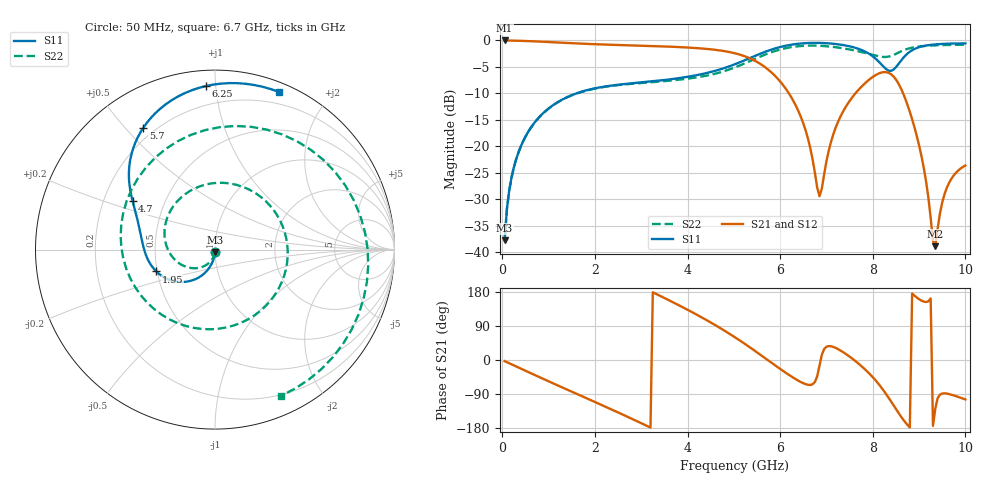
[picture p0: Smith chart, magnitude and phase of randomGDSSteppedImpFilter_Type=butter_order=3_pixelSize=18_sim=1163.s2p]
! freq	dB(S11)	phase(S11)	dB(S12)	phase(S12)
!  dB(S21)	phase(S21)	dB(S22)	phase(S22)
!S-par simulation data
#  GHz  S  DB  R 50
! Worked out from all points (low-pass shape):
!   200 points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, 50 MHz to 10 GHz, reference 50 ohm
!   highest |S21| = -0.01 dB at 50 MHz (marker M1); lowest = -38.9 dB at 9.35 GHz (marker M2)
!   |S21| within 3 dB of the highest: start of sweep to 5.239 GHz
!   lowest |S11| = -37.8 dB at 50 MHz (marker M3), VSWR 1.03, Z = 49.9 - j1.29 ohm
!   |S11| at or under -10 dB: start of sweep to 1.604 GHz
!   |S22| runs from -37.8 to -0.8 dB; largest |S21 - S12| = 0
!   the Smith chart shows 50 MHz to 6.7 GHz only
!   S11 on the Smith chart (normalised r, x): 50 MHz: 1.00, -0.03; 1.95 GHz: 0.49, -0.14; 4.7 GHz: 0.33, +0.24; 5.7 GHz: 0.16, +0.56; 6.25 GHz: 0.09, +0.94; 6.7 GHz: 0.09, +1.48
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0.05  -37.78 -92.0  -0.01 -2.9  -0.01 -2.9  -37.79 -93.7
0.2  -25.86 -98.3  -0.03 -11.4  -0.03 -11.4  -25.88 -105.0
0.5  -18.17 -110.4  -0.10 -28.4  -0.10 -28.4  -18.20 -127.4
1.75  -9.59 -153.9  -0.62 -97.2  -0.62 -97.2  -9.62 138.3
1.95  -9.15 -159.6  -0.70 -108.1  -0.70 -108.1  -9.19 122.3
3.4  -7.58 170.0  -1.10 169.8  -1.10 169.8  -7.78 -10.9
4.15  -6.64 158.5  -1.42 122.9  -1.42 122.9  -7.04 -93.0
4.7  -5.48 149.6  -1.89 84.7  -1.89 84.7  -6.05 -161.3
5.05  -4.41 142.4  -2.49 57.9  -2.49 57.9  -5.01 151.2
5.7  -2.07 120.5  -5.22 2.7  -5.22 2.7  -2.59 59.9
6.25  -0.79 93.1  -10.89 -44.1  -10.89 -44.1  -1.25 -12.1
6.7  -0.46 68.0  -22.45 -64.0  -22.45 -64.0  -0.97 -65.7
6.85  -0.47 59.3  -29.43 -14.8  -29.43 -14.8  -1.01 -83.0
7.2  -0.68 37.4  -16.45 31.9  -16.45 31.9  -1.28 -123.1
7.7  -1.61 -1.9  -9.25 -10.3  -9.25 -10.3  -2.08 178.2
8.1  -3.75 -57.9  -6.37 -59.3  -6.37 -59.3  -2.95 132.9
8.35  -5.72 -130.7  -6.15 -101.1  -6.15 -101.1  -3.04 109.9
8.55  -4.51 155.0  -8.08 -138.6  -8.08 -138.6  -2.32 91.4
8.8  -2.14 93.8  -13.49 -178.2  -13.49 -178.2  -1.46 65.0
9.35  -0.75 32.1  -38.88 -128.6  -38.88 -128.6  -0.92 15.2
9.6  -0.62 15.5  -27.83 -88.6  -27.83 -88.6  -0.86 -2.4
10  -0.56 -5.8  -23.63 -104.1  -23.63 -104.1  -0.81 -26.0
